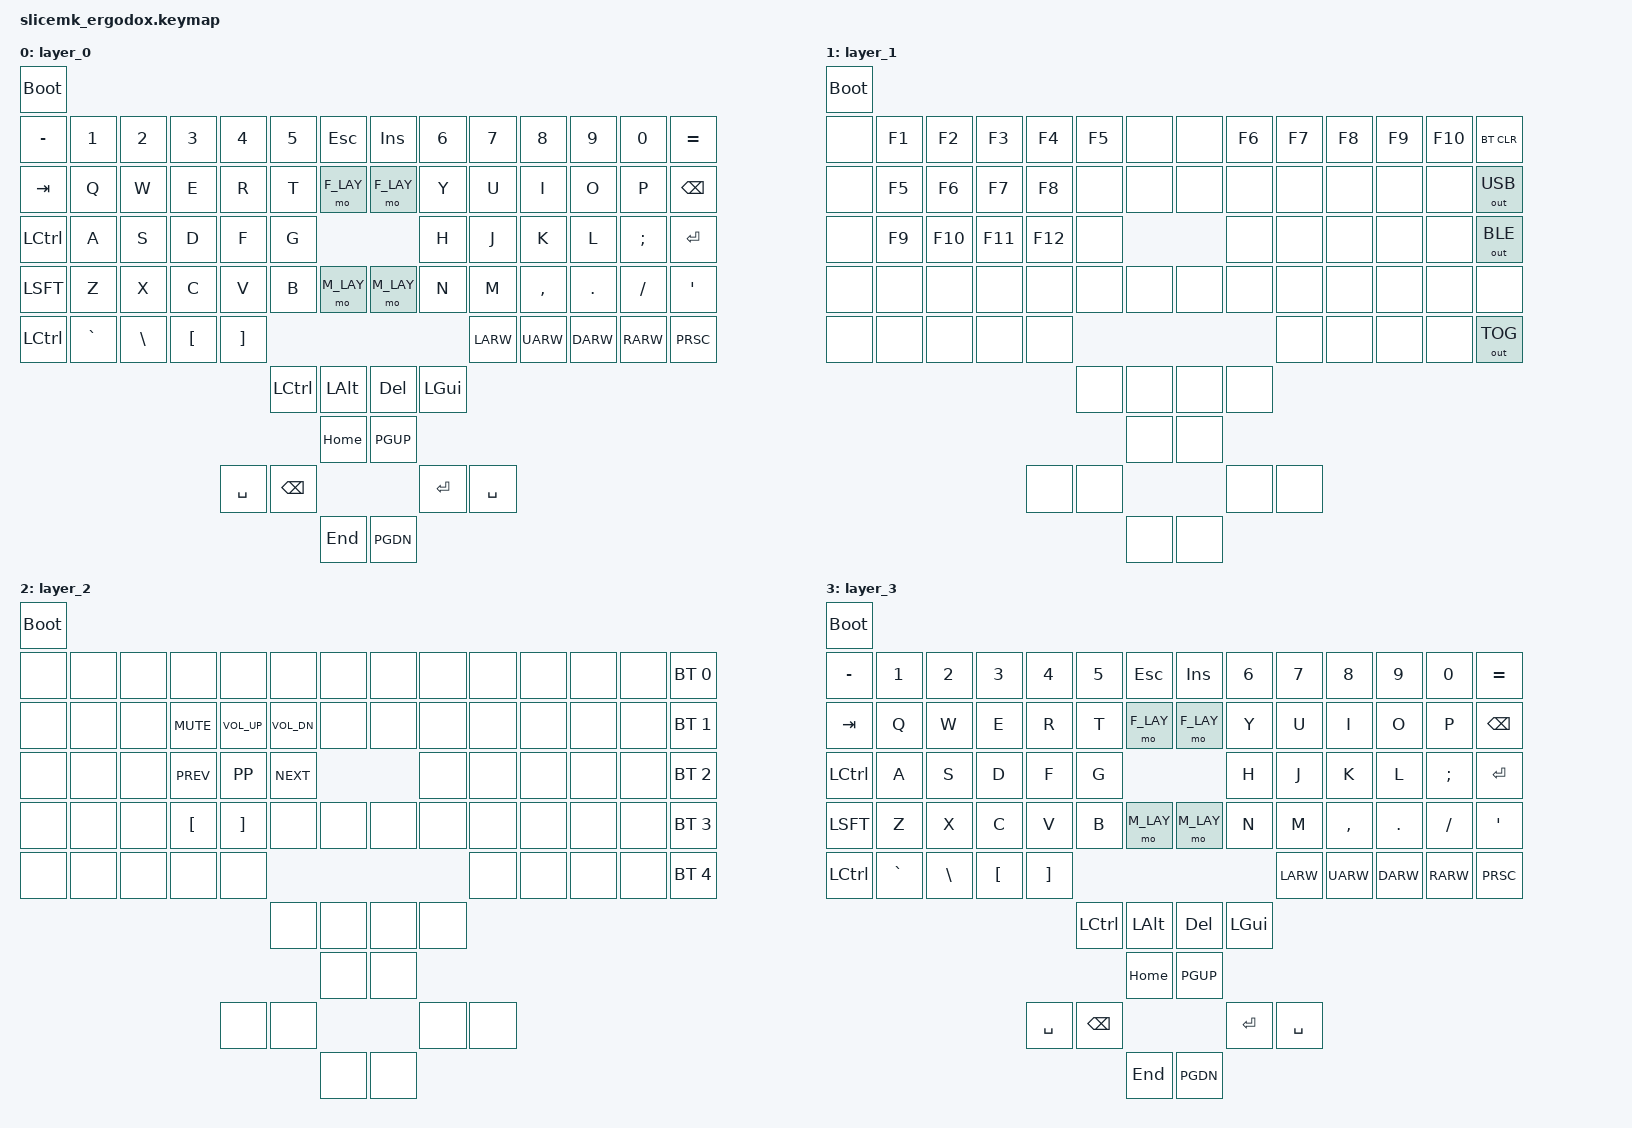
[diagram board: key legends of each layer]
#include <behaviors.dtsi>
#include <dt-bindings/zmk/bt.h>
#include <dt-bindings/zmk/keys.h>
#include <dt-bindings/zmk/outputs.h>

#define DEFAULT 0
#define F_LAY   1
#define M_LAY   2
#define ALTERNATE   3

/ {
        keymap {
                compatible = "zmk,keymap";

                layer_0 {
                        bindings = <
    &bootloader
    &kp MINUS  &kp NUMBER_1  &kp NUMBER_2  &kp NUMBER_3  &kp NUMBER_4  &kp NUMBER_5  &kp ESC    &kp INS    &kp NUMBER_6  &kp NUMBER_7  &kp NUMBER_8  &kp NUMBER_9  &kp NUMBER_0  &kp EQUAL
    &kp TAB    &kp Q         &kp W      &kp E      &kp R      &kp T      &mo F_LAY  &mo F_LAY &kp Y      &kp U      &kp I      &kp O      &kp P      &kp BKSP
    &kp LCTL   &kp A         &kp S      &kp D      &kp F      &kp G                            &kp H      &kp J      &kp K      &kp L      &kp SCLN   &kp RET
    &kp LSFT   &kp Z         &kp X      &kp C      &kp V      &kp B      &mo M_LAY  &mo M_LAY &kp N      &kp M      &kp CMMA   &kp DOT    &kp FSLH   &kp SQT
    &kp LCTL   &kp GRAVE     &kp BSLH   &kp LBKT   &kp RBKT                                               &kp LARW   &kp UARW   &kp DARW   &kp RARW   &kp PRSC
                                                           &kp LCTL  &kp LALT    &kp DEL   &kp LGUI
                                                                     &kp HOME    &kp PGUP
                                                &kp SPC    &kp BKSP                         &kp RET   &kp SPC
                                                                      &kp END    &kp PGDN
                        >;
                };

                layer_1 {
                        bindings = <
    &bootloader
    &none      &kp F1     &kp F2     &kp F3     &kp F4     &kp F5     &none      &none      &kp F6     &kp F7     &kp F8     &kp F9     &kp F10     &bt BT_CLR
    &none      &kp F5     &kp F6     &kp F7     &kp F8     &none      &none      &none      &none      &none      &none      &none      &none      &out OUT_USB
    &none      &kp F9     &kp F10    &kp F11    &kp F12    &none                            &none      &none      &none      &none      &none      &out OUT_BLE
    &none      &none      &none      &none      &none      &none      &none      &none      &none      &none      &none      &none      &none      &none
    &none      &none      &none      &none      &none                                                  &none      &none      &none      &none      &out OUT_TOG
                                                           &none      &none      &none      &none
                                                                      &none      &none
                                                &none      &none                            &none      &none
                                                                      &none      &none
                        >;
                };

                layer_2 {
                        bindings = <
    &bootloader
    &none      &none      &none      &none      &none      &none      &none      &none      &none      &none      &none      &none      &none      &bt BT_SEL 0
    &none      &none      &none      &kp K_MUTE &kp K_VOL_UP &kp K_VOL_DN      &none      &none      &none      &none      &none      &none      &none      &bt BT_SEL 1
    &none      &none      &none      &kp K_PREV &kp K_PP  &kp K_NEXT                            &none      &none      &none      &none      &none      &bt BT_SEL 2
    &none      &none      &none      &kp LBKT   &kp RBKT   &none      &none      &none      &none      &none      &none      &none      &none      &bt BT_SEL 3
    &none      &none      &none      &none      &none                                                  &none      &none      &none      &none      &bt BT_SEL 4
                                                           &none      &none      &none      &none
                                                                      &none      &none
                                                &none      &none                            &none      &none
                                                                      &none      &none
                        >;
                };

// programmers dvorak bindings here.
                layer_3 {
                        bindings = <
    &bootloader
    &kp MINUS  &kp NUMBER_1  &kp NUMBER_2  &kp NUMBER_3  &kp NUMBER_4  &kp NUMBER_5  &kp ESC    &kp INS    &kp NUMBER_6  &kp NUMBER_7  &kp NUMBER_8  &kp NUMBER_9  &kp NUMBER_0  &kp EQUAL
    &kp TAB    &kp Q         &kp W      &kp E      &kp R      &kp T      &mo F_LAY  &mo F_LAY &kp Y      &kp U      &kp I      &kp O      &kp P      &kp BKSP
    &kp LCTL   &kp A         &kp S      &kp D      &kp F      &kp G                            &kp H      &kp J      &kp K      &kp L      &kp SCLN   &kp RET
    &kp LSFT   &kp Z         &kp X      &kp C      &kp V      &kp B      &mo M_LAY  &mo M_LAY &kp N      &kp M      &kp CMMA   &kp DOT    &kp FSLH   &kp SQT
    &kp LCTL   &kp GRAVE     &kp BSLH   &kp LBKT   &kp RBKT                                               &kp LARW   &kp UARW   &kp DARW   &kp RARW   &kp PRSC
                                                           &kp LCTL  &kp LALT    &kp DEL   &kp LGUI
                                                                     &kp HOME    &kp PGUP
                                                &kp SPC    &kp BKSP                         &kp RET   &kp SPC
                                                                      &kp END    &kp PGDN
                        >;
                };

        };
};
